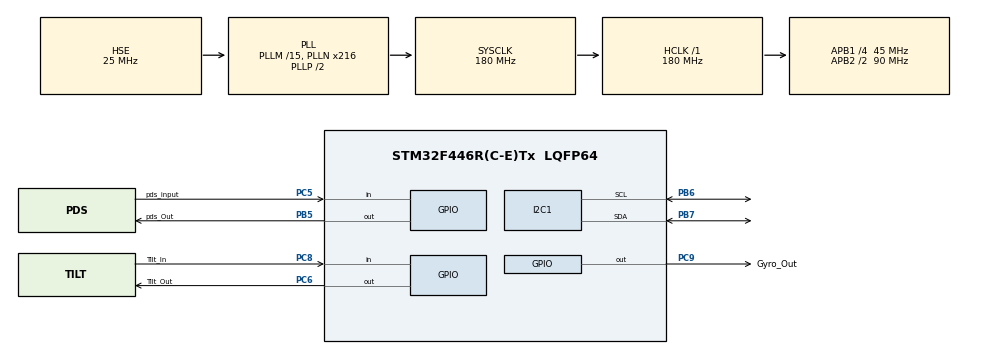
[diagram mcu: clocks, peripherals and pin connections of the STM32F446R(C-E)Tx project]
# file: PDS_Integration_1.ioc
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Mcu.Family=STM32F4
Mcu.Name=STM32F446R(C-E)Tx
Mcu.Package=LQFP64
NVIC.PriorityGroup=NVIC_PRIORITYGROUP_4
PA13.Mode=Serial_Wire
PA13.Signal=SYS_JTMS-SWDIO
PA14.Mode=Serial_Wire
PA14.Signal=SYS_JTCK-SWCLK
PB5.GPIO_Label=pds_Out
PB5.Signal=GPIO_Output
PB6.Mode=I2C
PB6.Signal=I2C1_SCL
PB7.Mode=I2C
PB7.Signal=I2C1_SDA
PC14-OSC32_IN.Mode=LSE-External-Oscillator
PC14-OSC32_IN.Signal=RCC_OSC32_IN
PC15-OSC32_OUT.Mode=LSE-External-Oscillator
PC15-OSC32_OUT.Signal=RCC_OSC32_OUT
PC5.GPIO_Label=pds_input
PC5.Signal=GPIO_Input
PC6.GPIO_Label=Tilt_Out
PC6.GPIO_PuPd=GPIO_PULLUP
PC6.Signal=GPIO_Output
PC8.GPIO_Label=Tilt_In
PC8.Signal=GPIO_Input
PC9.GPIO_Label=Gyro_Out
PC9.Signal=GPIO_Output
PH0-OSC_IN.Mode=HSE-External-Oscillator
PH0-OSC_IN.Signal=RCC_OSC_IN
PH1-OSC_OUT.Mode=HSE-External-Oscillator
PH1-OSC_OUT.Signal=RCC_OSC_OUT
ProjectManager.HeapSize=0x200
ProjectManager.StackSize=0x400
ProjectManager.TargetToolchain=STM32CubeIDE
RCC.AHBFreq_Value=180000000
RCC.APB1CLKDivider=RCC_HCLK_DIV4
RCC.APB1Freq_Value=45000000
RCC.APB1TimFreq_Value=90000000
RCC.APB2CLKDivider=RCC_HCLK_DIV2
RCC.APB2Freq_Value=90000000
RCC.APB2TimFreq_Value=180000000
RCC.CortexFreq_Value=180000000
RCC.HCLKFreq_Value=180000000
RCC.PLLM=15
RCC.PLLN=216
RCC.PLLSourceVirtual=RCC_PLLSOURCE_HSE
RCC.SYSCLKFreq_VALUE=180000000
RCC.SYSCLKSource=RCC_SYSCLKSOURCE_PLLCLK
RCC.USBFreq_Value=180000000
RCC.VCOOutputFreq_Value=360000000
board=custom

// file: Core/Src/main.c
/* USER CODE BEGIN Header */
/**
  ******************************************************************************
  * @file           : main.c
  * @brief          : Main program body
  ******************************************************************************
  * @attention
  *
  * <h2><center>&copy; Copyright (c) 2019 STMicroelectronics.
  * All rights reserved.</center></h2>
  *
  * This software component is licensed by ST under BSD 3-Clause license,
  * the "License"; You may not use this file except in compliance with the
  * License. You may obtain a copy of the License at:
  *                        opensource.org/licenses/BSD-3-Clause
  *
  ******************************************************************************
  */
/* USER CODE END Header */
#include "main.h"

/* USER CODE BEGIN Includes */
#include "math.h"
#include "stdbool.h"
/* USER CODE END Includes */

I2C_HandleTypeDef hi2c1;

/* USER CODE BEGIN PV */
bool tilt=0;
bool fall=0;
bool pds=0;
/* USER CODE END PV */

void SystemClock_Config(void);
static void MX_GPIO_Init(void);
static void MX_I2C1_Init(void);

/* USER CODE BEGIN 0 */

#define MPU6050_ADDR 0xD0

#define SMPLRT_DIV_REG 0x19
#define GYRO_CONFIG_REG 0x1B
#define ACCEL_CONFIG_REG 0x1C
#define ACCEL_XOUT_H_REG 0x3B
#define TEMP_OUT_H_REG 0x41
#define GYRO_XOUT_H_REG 0x43
#define PWR_MGMT_1_REG 0x6B
#define WHO_AM_I_REG 0x75

int16_t Accel_X_RAW = 0;
int16_t Accel_Y_RAW = 0;
int16_t Accel_Z_RAW = 0;

int16_t Gyro_X_RAW = 0;
int16_t Gyro_Y_RAW = 0;
int16_t Gyro_Z_RAW = 0;

float Ax, Ay, Az, Gx, Gy, Gz, Avg1, Avg2;

void MPU6050_Init (void)
{
	uint8_t check;
	uint8_t Data;

	// check device ID WHO_AM_I

	HAL_I2C_Mem_Read (&hi2c1, MPU6050_ADDR,WHO_AM_I_REG,1, &check, 1, 1000);

	if (check == 104)  // 0x68 will be returned by the sensor if everything goes well
	{
		// power management register 0X6B we should write all 0's to wake the sensor up
		Data = 0;
		HAL_I2C_Mem_Write(&hi2c1, MPU6050_ADDR, PWR_MGMT_1_REG, 1,&Data, 1, 1000);

		// Set DATA RATE of 1KHz by writing SMPLRT_DIV register
		Data = 0x07;
		HAL_I2C_Mem_Write(&hi2c1, MPU6050_ADDR, SMPLRT_DIV_REG, 1, &Data, 1, 1000);

		// Set accelerometer configuration in ACCEL_CONFIG Register
		// XA_ST=0,YA_ST=0,ZA_ST=0, FS_SEL=0 -> � 2g
		Data = 0x00;
		HAL_I2C_Mem_Write(&hi2c1, MPU6050_ADDR, ACCEL_CONFIG_REG, 1, &Data, 1, 1000);

		// Set Gyroscopic configuration in GYRO_CONFIG Register
		// XG_ST=0,YG_ST=0,ZG_ST=0, FS_SEL=0 -> � 250 �/s
		Data = 0x00;
		HAL_I2C_Mem_Write(&hi2c1, MPU6050_ADDR, GYRO_CONFIG_REG, 1, &Data, 1, 1000);
	}

}

void MPU6050_Read_Accel (void)
{
	uint8_t Rec_Data[6];

	// Read 6 BYTES of data starting from ACCEL_XOUT_H register

	HAL_I2C_Mem_Read (&hi2c1, MPU6050_ADDR, ACCEL_XOUT_H_REG, 1, Rec_Data, 6, 1000);

	Accel_X_RAW = (int16_t)(Rec_Data[0] << 8 | Rec_Data [1]);
	Accel_Y_RAW = (int16_t)(Rec_Data[2] << 8 | Rec_Data [3]);
	Accel_Z_RAW = (int16_t)(Rec_Data[4] << 8 | Rec_Data [5]);

	/*** convert the RAW values into acceleration in 'g'
	     we have to divide according to the Full scale value set in FS_SEL
	     I have configured FS_SEL = 0. So I am dividing by 16384.0
	     for more details check ACCEL_CONFIG Register              ****/

	Ax = Accel_X_RAW/16384.0;
	Ay = Accel_Y_RAW/16384.0;
	Az = Accel_Z_RAW/16384.0;

}

void MPU6050_Read_Gyro (void)
{
	uint8_t Rec_Data[6];

	// Read 6 BYTES of data starting from GYRO_XOUT_H register

	HAL_I2C_Mem_Read (&hi2c1, MPU6050_ADDR, GYRO_XOUT_H_REG, 1, Rec_Data, 6, 1000);

	Gyro_X_RAW = (int16_t)(Rec_Data[0] << 8 | Rec_Data [1]);
	Gyro_Y_RAW = (int16_t)(Rec_Data[2] << 8 | Rec_Data [3]);
	Gyro_Z_RAW = (int16_t)(Rec_Data[4] << 8 | Rec_Data [5]);

	/*** convert the RAW values into dps (�/s)
	     we have to divide according to the Full scale value set in FS_SEL
	     I have configured FS_SEL = 0. So I am dividing by 131.0
	     for more details check GYRO_CONFIG Register              ****/

	Gx = Gyro_X_RAW/131.0;
	Gy = Gyro_Y_RAW/131.0;
	Gz = Gyro_Z_RAW/131.0;

}
void Tilt_sensor()
{
	tilt= HAL_GPIO_ReadPin(GPIOC, GPIO_PIN_8);
}

/* USER CODE END 0 */

int main(void)
{

  /* MCU Configuration--------------------------------------------------------*/

  /* Reset of all peripherals, Initializes the Flash interface and the Systick. */
  HAL_Init();

  /* Configure the system clock */
  SystemClock_Config();

  /* Initialize all configured peripherals */
  MX_GPIO_Init();
  MX_I2C1_Init();
  /* USER CODE BEGIN 2 */

  MPU6050_Init();

  /* USER CODE END 2 */

  /* Infinite loop */
  while (1)
  {

    /* USER CODE BEGIN 3 */

	  // read the Accelerometer and Gyro values
	  MPU6050_Read_Accel();
	  MPU6050_Read_Gyro();
	  Tilt_sensor();
	  // print the Acceleration and Gyro values on the LCD 20x4
	  Avg1 = pow(pow(Ax,2)+pow(Ay,2)+pow(Az,2),0.5);
	  Avg2 = pow(pow(Gx,2)+pow(Gy,2)+pow(Gz,2),0.5);
	  Avg1 = pow(pow(Ax,2)+pow(Ay,2)+pow(Az,2),0.5);
	  Avg2 = pow(pow(Gx,2)+pow(Gy,2)+pow(Gz,2),0.5);
	  if((Avg1 >= 2 && Avg2 >= 200 && tilt==0)||fall==1)
	  {
		  HAL_GPIO_WritePin(GPIOC, GPIO_PIN_9, GPIO_PIN_SET); //Trigger PDS
	  }
	  else
	  {
		  HAL_GPIO_WritePin(GPIOC, GPIO_PIN_9, GPIO_PIN_RESET);
	  }
	  HAL_Delay (100);  // wait for a while
	  pds=HAL_GPIO_ReadPin(GPIOC, GPIO_PIN_5);
	  	  if(pds==0)
	  	  {
	  		  HAL_GPIO_WritePin(GPIOB, GPIO_PIN_5, 0);
	  	  }
	  	  else
	  	  {
	  		  HAL_GPIO_WritePin(GPIOB, GPIO_PIN_5, 1);
	  	  }
  }
  /* USER CODE END 3 */
}

void SystemClock_Config(void)
{
  RCC_OscInitTypeDef RCC_OscInitStruct = {0};
  RCC_ClkInitTypeDef RCC_ClkInitStruct = {0};

  /** Configure the main internal regulator output voltage
  */
  __HAL_RCC_PWR_CLK_ENABLE();
  __HAL_PWR_VOLTAGESCALING_CONFIG(PWR_REGULATOR_VOLTAGE_SCALE1);

  /** Initializes the RCC Oscillators according to the specified parameters
  * in the RCC_OscInitTypeDef structure.
  */
  RCC_OscInitStruct.OscillatorType = RCC_OSCILLATORTYPE_HSE;
  RCC_OscInitStruct.HSEState = RCC_HSE_ON;
  RCC_OscInitStruct.PLL.PLLState = RCC_PLL_ON;
  RCC_OscInitStruct.PLL.PLLSource = RCC_PLLSOURCE_HSE;
  RCC_OscInitStruct.PLL.PLLM = 15;
  RCC_OscInitStruct.PLL.PLLN = 216;
  RCC_OscInitStruct.PLL.PLLP = RCC_PLLP_DIV2;
  RCC_OscInitStruct.PLL.PLLQ = 2;
  RCC_OscInitStruct.PLL.PLLR = 2;
  if (HAL_RCC_OscConfig(&RCC_OscInitStruct) != HAL_OK)
  {
    Error_Handler();
  }

  /** Activate the Over-Drive mode
  */
  if (HAL_PWREx_EnableOverDrive() != HAL_OK)
  {
    Error_Handler();
  }

  /** Initializes the CPU, AHB and APB buses clocks
  */
  RCC_ClkInitStruct.ClockType = RCC_CLOCKTYPE_HCLK|RCC_CLOCKTYPE_SYSCLK
                              |RCC_CLOCKTYPE_PCLK1|RCC_CLOCKTYPE_PCLK2;
  RCC_ClkInitStruct.SYSCLKSource = RCC_SYSCLKSOURCE_PLLCLK;
  RCC_ClkInitStruct.AHBCLKDivider = RCC_SYSCLK_DIV1;
  RCC_ClkInitStruct.APB1CLKDivider = RCC_HCLK_DIV4;
  RCC_ClkInitStruct.APB2CLKDivider = RCC_HCLK_DIV2;

  if (HAL_RCC_ClockConfig(&RCC_ClkInitStruct, FLASH_LATENCY_5) != HAL_OK)
  {
    Error_Handler();
  }
}

static void MX_I2C1_Init(void)
{

  hi2c1.Instance = I2C1;
  hi2c1.Init.ClockSpeed = 100000;
  hi2c1.Init.DutyCycle = I2C_DUTYCYCLE_2;
  hi2c1.Init.OwnAddress1 = 0;
  hi2c1.Init.AddressingMode = I2C_ADDRESSINGMODE_7BIT;
  hi2c1.Init.DualAddressMode = I2C_DUALADDRESS_DISABLE;
  hi2c1.Init.OwnAddress2 = 0;
  hi2c1.Init.GeneralCallMode = I2C_GENERALCALL_DISABLE;
  hi2c1.Init.NoStretchMode = I2C_NOSTRETCH_DISABLE;
  if (HAL_I2C_Init(&hi2c1) != HAL_OK)
  {
    Error_Handler();
  }

}

static void MX_GPIO_Init(void)
{
  GPIO_InitTypeDef GPIO_InitStruct = {0};

  /* GPIO Ports Clock Enable */
  __HAL_RCC_GPIOC_CLK_ENABLE();
  __HAL_RCC_GPIOH_CLK_ENABLE();
  __HAL_RCC_GPIOA_CLK_ENABLE();
  __HAL_RCC_GPIOB_CLK_ENABLE();

  /*Configure GPIO pin Output Level */
  HAL_GPIO_WritePin(GPIOC, Tilt_Out_Pin|Gyro_Out_Pin, GPIO_PIN_RESET);

  /*Configure GPIO pin Output Level */
  HAL_GPIO_WritePin(pds_Out_GPIO_Port, pds_Out_Pin, GPIO_PIN_RESET);

  /*Configure GPIO pins : pds_input_Pin Tilt_In_Pin */
  GPIO_InitStruct.Pin = pds_input_Pin|Tilt_In_Pin;
  GPIO_InitStruct.Mode = GPIO_MODE_INPUT;
  GPIO_InitStruct.Pull = GPIO_NOPULL;
  HAL_GPIO_Init(GPIOC, &GPIO_InitStruct);

  /*Configure GPIO pin : Tilt_Out_Pin */
  GPIO_InitStruct.Pin = Tilt_Out_Pin;
  GPIO_InitStruct.Mode = GPIO_MODE_OUTPUT_PP;
  GPIO_InitStruct.Pull = GPIO_PULLUP;
  GPIO_InitStruct.Speed = GPIO_SPEED_FREQ_LOW;
  HAL_GPIO_Init(Tilt_Out_GPIO_Port, &GPIO_InitStruct);

  /*Configure GPIO pin : Gyro_Out_Pin */
  GPIO_InitStruct.Pin = Gyro_Out_Pin;
  GPIO_InitStruct.Mode = GPIO_MODE_OUTPUT_PP;
  GPIO_InitStruct.Pull = GPIO_NOPULL;
  GPIO_InitStruct.Speed = GPIO_SPEED_FREQ_LOW;
  HAL_GPIO_Init(Gyro_Out_GPIO_Port, &GPIO_InitStruct);

  /*Configure GPIO pin : pds_Out_Pin */
  GPIO_InitStruct.Pin = pds_Out_Pin;
  GPIO_InitStruct.Mode = GPIO_MODE_OUTPUT_PP;
  GPIO_InitStruct.Pull = GPIO_NOPULL;
  GPIO_InitStruct.Speed = GPIO_SPEED_FREQ_LOW;
  HAL_GPIO_Init(pds_Out_GPIO_Port, &GPIO_InitStruct);

}

void Error_Handler(void)
{
}
